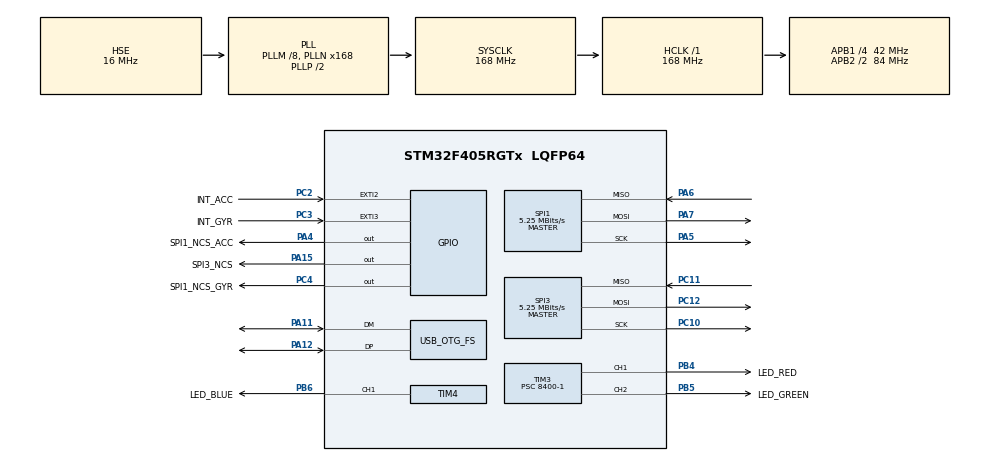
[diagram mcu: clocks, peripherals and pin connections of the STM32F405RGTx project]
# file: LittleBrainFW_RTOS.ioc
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Dma.Request0=SPI1_RX
Dma.Request1=SPI1_TX
Dma.Request2=SPI3_RX
Dma.Request3=SPI3_TX
Dma.SPI1_RX.0.Direction=DMA_PERIPH_TO_MEMORY
Dma.SPI1_RX.0.FIFOMode=DMA_FIFOMODE_DISABLE
Dma.SPI1_RX.0.Instance=DMA2_Stream0
Dma.SPI1_RX.0.MemDataAlignment=DMA_MDATAALIGN_BYTE
Dma.SPI1_RX.0.MemInc=DMA_MINC_ENABLE
Dma.SPI1_RX.0.Mode=DMA_NORMAL
Dma.SPI1_RX.0.PeriphDataAlignment=DMA_PDATAALIGN_BYTE
Dma.SPI1_RX.0.PeriphInc=DMA_PINC_DISABLE
Dma.SPI1_RX.0.Priority=DMA_PRIORITY_HIGH
Dma.SPI1_TX.1.Direction=DMA_MEMORY_TO_PERIPH
Dma.SPI1_TX.1.FIFOMode=DMA_FIFOMODE_DISABLE
Dma.SPI1_TX.1.Instance=DMA2_Stream3
Dma.SPI1_TX.1.MemDataAlignment=DMA_MDATAALIGN_BYTE
Dma.SPI1_TX.1.MemInc=DMA_MINC_ENABLE
Dma.SPI1_TX.1.Mode=DMA_NORMAL
Dma.SPI1_TX.1.PeriphDataAlignment=DMA_PDATAALIGN_BYTE
Dma.SPI1_TX.1.PeriphInc=DMA_PINC_DISABLE
Dma.SPI1_TX.1.Priority=DMA_PRIORITY_HIGH
Dma.SPI3_RX.2.Direction=DMA_PERIPH_TO_MEMORY
Dma.SPI3_RX.2.FIFOMode=DMA_FIFOMODE_DISABLE
Dma.SPI3_RX.2.Instance=DMA1_Stream0
Dma.SPI3_RX.2.MemDataAlignment=DMA_MDATAALIGN_BYTE
Dma.SPI3_RX.2.MemInc=DMA_MINC_ENABLE
Dma.SPI3_RX.2.Mode=DMA_NORMAL
Dma.SPI3_RX.2.PeriphDataAlignment=DMA_PDATAALIGN_BYTE
Dma.SPI3_RX.2.PeriphInc=DMA_PINC_DISABLE
Dma.SPI3_RX.2.Priority=DMA_PRIORITY_MEDIUM
Dma.SPI3_TX.3.Direction=DMA_MEMORY_TO_PERIPH
Dma.SPI3_TX.3.FIFOMode=DMA_FIFOMODE_DISABLE
Dma.SPI3_TX.3.Instance=DMA1_Stream5
Dma.SPI3_TX.3.MemDataAlignment=DMA_MDATAALIGN_BYTE
Dma.SPI3_TX.3.MemInc=DMA_MINC_ENABLE
Dma.SPI3_TX.3.Mode=DMA_NORMAL
Dma.SPI3_TX.3.PeriphDataAlignment=DMA_PDATAALIGN_BYTE
Dma.SPI3_TX.3.PeriphInc=DMA_PINC_DISABLE
Dma.SPI3_TX.3.Priority=DMA_PRIORITY_MEDIUM
FREERTOS.Tasks01=taskLED,-2,128,startTaskLED,Default,NULL,Dynamic,NULL,NULL;taskUSB,0,128,startTaskUSB,Default,NULL,Dynamic,NULL,NULL;taskPressure,1,128,taskTaskPressure,Default,NULL,Dynamic,NULL,NULL;taskKalmanFilte,2,256,startTaskKalmanFilter,Default,NULL,Dynamic,NULL,NULL
FREERTOS.configENABLE_FPU=1
Mcu.Family=STM32F4
Mcu.Name=STM32F405RGTx
Mcu.Package=LQFP64
NVIC.DMA1_Stream0_IRQn=true\:0\:0\:false\:false\:true\:false\:false\:true
NVIC.DMA1_Stream5_IRQn=true\:0\:0\:false\:false\:true\:false\:false\:true
NVIC.DMA2_Stream0_IRQn=true\:0\:0\:false\:false\:true\:false\:false\:true
NVIC.DMA2_Stream3_IRQn=true\:0\:0\:false\:false\:true\:false\:false\:true
NVIC.EXTI2_IRQn=true\:0\:0\:false\:false\:true\:false\:true\:true
NVIC.EXTI3_IRQn=true\:0\:0\:false\:false\:true\:false\:true\:true
NVIC.OTG_FS_IRQn=true\:0\:0\:false\:false\:true\:false\:false\:true
NVIC.PriorityGroup=NVIC_PRIORITYGROUP_4
NVIC.SPI1_IRQn=true\:0\:0\:false\:false\:true\:false\:true\:true
NVIC.TIM1_UP_TIM10_IRQn=true\:0\:0\:false\:false\:true\:false\:false\:true
NVIC.TimeBase=TIM1_UP_TIM10_IRQn
NVIC.TimeBaseIP=TIM1
PA11.Mode=Device_Only
PA11.Signal=USB_OTG_FS_DM
PA12.Mode=Device_Only
PA12.Signal=USB_OTG_FS_DP
PA13.Mode=Trace_Asynchronous_SW
PA13.Signal=SYS_JTMS-SWDIO
PA14.Mode=Trace_Asynchronous_SW
PA14.Signal=SYS_JTCK-SWCLK
PA15.GPIO_Label=SPI3_NCS
PA15.Signal=GPIO_Output
PA4.GPIO_Label=SPI1_NCS_ACC
PA4.Signal=GPIO_Output
PA5.Mode=Full_Duplex_Master
PA5.Signal=SPI1_SCK
PA6.Mode=Full_Duplex_Master
PA6.Signal=SPI1_MISO
PA7.Mode=Full_Duplex_Master
PA7.Signal=SPI1_MOSI
PB3.Mode=Trace_Asynchronous_SW
PB3.Signal=SYS_JTDO-SWO
PB4.GPIO_Label=LED_RED
PB4.Signal=S_TIM3_CH1
PB5.GPIO_Label=LED_GREEN
PB5.Signal=S_TIM3_CH2
PB6.GPIO_Label=LED_BLUE
PB6.Signal=S_TIM4_CH1
PC10.Mode=Full_Duplex_Master
PC10.Signal=SPI3_SCK
PC11.Mode=Full_Duplex_Master
PC11.Signal=SPI3_MISO
PC12.Mode=Full_Duplex_Master
PC12.Signal=SPI3_MOSI
PC2.GPIO_Label=INT_ACC
PC2.Signal=GPXTI2
PC3.GPIO_Label=INT_GYR
PC3.Signal=GPXTI3
PC4.GPIO_Label=SPI1_NCS_GYR
PC4.Signal=GPIO_Output
PH0-OSC_IN.Mode=HSE-External-Oscillator
PH0-OSC_IN.Signal=RCC_OSC_IN
PH1-OSC_OUT.Mode=HSE-External-Oscillator
PH1-OSC_OUT.Signal=RCC_OSC_OUT
ProjectManager.HeapSize=0x200
ProjectManager.StackSize=0x400
ProjectManager.TargetToolchain=STM32CubeIDE
RCC.48MHZClocksFreq_Value=48000000
RCC.AHBFreq_Value=168000000
RCC.APB1CLKDivider=RCC_HCLK_DIV4
RCC.APB1Freq_Value=42000000
RCC.APB1TimFreq_Value=84000000
RCC.APB2CLKDivider=RCC_HCLK_DIV2
RCC.APB2Freq_Value=84000000
RCC.APB2TimFreq_Value=168000000
RCC.CortexFreq_Value=168000000
RCC.HCLKFreq_Value=168000000
RCC.HSE_VALUE=16000000
RCC.HSI_VALUE=16000000
RCC.LSE_VALUE=32768
RCC.PLLM=8
RCC.PLLN=168
RCC.PLLQ=7
RCC.SYSCLKFreq_VALUE=168000000
RCC.SYSCLKSource=RCC_SYSCLKSOURCE_PLLCLK
RCC.VCOOutputFreq_Value=336000000
SH.S_TIM3_CH1.0=TIM3_CH1,PWM Generation1 CH1
SH.S_TIM3_CH2.0=TIM3_CH2,PWM Generation2 CH2
SH.S_TIM4_CH1.0=TIM4_CH1,PWM Generation1 CH1
SPI1.BaudRatePrescaler=SPI_BAUDRATEPRESCALER_16
SPI1.CalculateBaudRate=5.25 MBits/s
SPI1.Direction=SPI_DIRECTION_2LINES
SPI1.Mode=SPI_MODE_MASTER
SPI1.VirtualType=VM_MASTER
SPI3.BaudRatePrescaler=SPI_BAUDRATEPRESCALER_8
SPI3.CalculateBaudRate=5.25 MBits/s
SPI3.Direction=SPI_DIRECTION_2LINES
SPI3.Mode=SPI_MODE_MASTER
SPI3.VirtualType=VM_MASTER
TIM3.Channel-PWM\ Generation1\ CH1=TIM_CHANNEL_1
TIM3.Channel-PWM\ Generation2\ CH2=TIM_CHANNEL_2
TIM3.Period=100-1
TIM3.Prescaler=8400-1
TIM3.TIM_MasterOutputTrigger=TIM_TRGO_RESET
TIM4.Channel-PWM\ Generation1\ CH1=TIM_CHANNEL_1
TIM4.Period=100-1
TIM4.Prescaler=8400-1
USB_DEVICE.CLASS_NAME_FS=CDC
USB_DEVICE.VirtualMode-CDC_FS=Cdc
USB_DEVICE.VirtualModeFS=Cdc_FS
USB_OTG_FS.VirtualMode=Device_Only
VP_FREERTOS_VS_CMSIS_V1.Mode=CMSIS_V1
VP_SYS_VS_tim1.Mode=TIM1
VP_TIM3_VS_ClockSourceINT.Mode=Internal
VP_TIM4_VS_ClockSourceINT.Mode=Internal
VP_USB_DEVICE_VS_USB_DEVICE_CDC_FS.Mode=CDC_FS
board=custom

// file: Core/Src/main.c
/* USER CODE BEGIN Header */

/*
 *
 * Little Brain PCB Firmware + FreeRTOS
 *
 * Phil's Lab - youtube.com/c/phils94
 *
 */

/* USER CODE END Header */

#include "main.h"
#include "cmsis_os.h"
#include "usb_device.h"

/* USER CODE BEGIN Includes */
#include "usbd_cdc_if.h"

#include "BMI088.h"
#include "SPL06.h"
/* USER CODE END Includes */

/* USER CODE BEGIN PD */
#define SAMPLE_TIME_MS_EKF	100
#define SAMPLE_TIME_MS_BAR  125
#define SAMPLE_TIME_MS_USB 1000
#define SAMPLE_TIME_MS_LED  250
/* USER CODE END PD */

SPI_HandleTypeDef hspi1;
SPI_HandleTypeDef hspi3;
DMA_HandleTypeDef hdma_spi1_rx;
DMA_HandleTypeDef hdma_spi1_tx;
DMA_HandleTypeDef hdma_spi3_rx;
DMA_HandleTypeDef hdma_spi3_tx;

TIM_HandleTypeDef htim3;
TIM_HandleTypeDef htim4;

osThreadId taskLEDHandle;
osThreadId taskUSBHandle;
osThreadId taskPressureHandle;
osThreadId taskKalmanFilteHandle;
/* USER CODE BEGIN PV */
BMI088 imu;
SPL06  bar;
/* USER CODE END PV */

void SystemClock_Config(void);
static void MX_GPIO_Init(void);
static void MX_DMA_Init(void);
static void MX_SPI1_Init(void);
static void MX_SPI3_Init(void);
static void MX_TIM3_Init(void);
static void MX_TIM4_Init(void);
void startTaskLED(void const * argument);
void startTaskUSB(void const * argument);
void taskTaskPressure(void const * argument);
void startTaskKalmanFilter(void const * argument);

/* USER CODE BEGIN 0 */
void HAL_SPI_TxRxCpltCallback(SPI_HandleTypeDef *hspi) {

	if (hspi->Instance == SPI1) {

		if (imu.readingAcc) {

			BMI088_ReadAccelerometerDMA_Complete(&imu);

		}

		if (imu.readingGyr) {

			BMI088_ReadGyroscopeDMA_Complete(&imu);

		}

	} else if (hspi->Instance == SPI3) {

		if (bar.reading) {

			SPL06_ReadDMA_Complete(&bar);

		}

	}

}

void HAL_GPIO_EXTI_Callback(uint16_t GPIO_Pin) {

	if (GPIO_Pin == INT_ACC_Pin) {

		BMI088_ReadAccelerometerDMA(&imu);

	} else if (GPIO_Pin == INT_GYR_Pin) {

		BMI088_ReadGyroscopeDMA(&imu);

	}

}

void LED_RGB_Init() {

	/* Start RGB LED PWM timers */
	HAL_TIM_PWM_Start(&htim3, TIM_CHANNEL_1);
	HAL_TIM_PWM_Start(&htim3, TIM_CHANNEL_2);
	HAL_TIM_PWM_Start(&htim4, TIM_CHANNEL_1);

}

void LED_RGB_SetIntensity(uint8_t red, uint8_t green, uint8_t blue) {

	htim3.Instance->CCR1 = 100 - red;
	htim3.Instance->CCR2 = 100 - green;
	htim4.Instance->CCR1 = 100 - blue;

}
/* USER CODE END 0 */

int main(void)
{

  /* MCU Configuration--------------------------------------------------------*/

  /* Reset of all peripherals, Initializes the Flash interface and the Systick. */
  HAL_Init();

  /* Configure the system clock */
  SystemClock_Config();

  /* Initialize all configured peripherals */
  MX_GPIO_Init();
  MX_DMA_Init();
  MX_SPI1_Init();
  MX_SPI3_Init();
  MX_TIM3_Init();
  MX_TIM4_Init();
  /* USER CODE BEGIN 2 */
  /* init code for USB_DEVICE */
  MX_USB_DEVICE_Init();

  /* Initialise RGB LED */
  LED_RGB_Init();
  LED_RGB_SetIntensity(0, 0, 0);

  /* Initialise inertial measurement unit */
  BMI088_Init(&imu, &hspi1, GPIOA, SPI1_NCS_ACC_Pin, GPIOC, SPI1_NCS_GYR_Pin);

  /* Initialise barometric pressure sensor */
  SPL06_Init(&bar, &hspi3, GPIOA, SPI3_NCS_Pin);
  /* USER CODE END 2 */

  /* Create the thread(s) */
  /* definition and creation of taskLED */
  osThreadDef(taskLED, startTaskLED, osPriorityLow, 0, 128);
  taskLEDHandle = osThreadCreate(osThread(taskLED), NULL);

  /* definition and creation of taskUSB */
  osThreadDef(taskUSB, startTaskUSB, osPriorityNormal, 0, 256);
  taskUSBHandle = osThreadCreate(osThread(taskUSB), NULL);

  /* definition and creation of taskPressure */
  osThreadDef(taskPressure, taskTaskPressure, osPriorityAboveNormal, 0, 128);
  taskPressureHandle = osThreadCreate(osThread(taskPressure), NULL);

  /* definition and creation of taskKalmanFilte */
  osThreadDef(taskKalmanFilte, startTaskKalmanFilter, osPriorityHigh, 0, 256);
  taskKalmanFilteHandle = osThreadCreate(osThread(taskKalmanFilte), NULL);

  /* Start scheduler */
  osKernelStart();

  /* We should never get here as control is now taken by the scheduler */
  /* Infinite loop */
  while (1)
  {

  }
}

void SystemClock_Config(void)
{
  RCC_OscInitTypeDef RCC_OscInitStruct = {0};
  RCC_ClkInitTypeDef RCC_ClkInitStruct = {0};

  /** Configure the main internal regulator output voltage
  */
  __HAL_RCC_PWR_CLK_ENABLE();
  __HAL_PWR_VOLTAGESCALING_CONFIG(PWR_REGULATOR_VOLTAGE_SCALE1);
  /** Initializes the CPU, AHB and APB busses clocks
  */
  RCC_OscInitStruct.OscillatorType = RCC_OSCILLATORTYPE_HSE;
  RCC_OscInitStruct.HSEState = RCC_HSE_ON;
  RCC_OscInitStruct.PLL.PLLState = RCC_PLL_ON;
  RCC_OscInitStruct.PLL.PLLSource = RCC_PLLSOURCE_HSE;
  RCC_OscInitStruct.PLL.PLLM = 8;
  RCC_OscInitStruct.PLL.PLLN = 168;
  RCC_OscInitStruct.PLL.PLLP = RCC_PLLP_DIV2;
  RCC_OscInitStruct.PLL.PLLQ = 7;
  if (HAL_RCC_OscConfig(&RCC_OscInitStruct) != HAL_OK)
  {
    Error_Handler();
  }
  /** Initializes the CPU, AHB and APB busses clocks
  */
  RCC_ClkInitStruct.ClockType = RCC_CLOCKTYPE_HCLK|RCC_CLOCKTYPE_SYSCLK
                              |RCC_CLOCKTYPE_PCLK1|RCC_CLOCKTYPE_PCLK2;
  RCC_ClkInitStruct.SYSCLKSource = RCC_SYSCLKSOURCE_PLLCLK;
  RCC_ClkInitStruct.AHBCLKDivider = RCC_SYSCLK_DIV1;
  RCC_ClkInitStruct.APB1CLKDivider = RCC_HCLK_DIV4;
  RCC_ClkInitStruct.APB2CLKDivider = RCC_HCLK_DIV2;

  if (HAL_RCC_ClockConfig(&RCC_ClkInitStruct, FLASH_LATENCY_5) != HAL_OK)
  {
    Error_Handler();
  }
}

static void MX_SPI1_Init(void)
{

  /* SPI1 parameter configuration*/
  hspi1.Instance = SPI1;
  hspi1.Init.Mode = SPI_MODE_MASTER;
  hspi1.Init.Direction = SPI_DIRECTION_2LINES;
  hspi1.Init.DataSize = SPI_DATASIZE_8BIT;
  hspi1.Init.CLKPolarity = SPI_POLARITY_LOW;
  hspi1.Init.CLKPhase = SPI_PHASE_1EDGE;
  hspi1.Init.NSS = SPI_NSS_SOFT;
  hspi1.Init.BaudRatePrescaler = SPI_BAUDRATEPRESCALER_16;
  hspi1.Init.FirstBit = SPI_FIRSTBIT_MSB;
  hspi1.Init.TIMode = SPI_TIMODE_DISABLE;
  hspi1.Init.CRCCalculation = SPI_CRCCALCULATION_DISABLE;
  hspi1.Init.CRCPolynomial = 10;
  if (HAL_SPI_Init(&hspi1) != HAL_OK)
  {
    Error_Handler();
  }

}

static void MX_SPI3_Init(void)
{

  /* SPI3 parameter configuration*/
  hspi3.Instance = SPI3;
  hspi3.Init.Mode = SPI_MODE_MASTER;
  hspi3.Init.Direction = SPI_DIRECTION_2LINES;
  hspi3.Init.DataSize = SPI_DATASIZE_8BIT;
  hspi3.Init.CLKPolarity = SPI_POLARITY_LOW;
  hspi3.Init.CLKPhase = SPI_PHASE_1EDGE;
  hspi3.Init.NSS = SPI_NSS_SOFT;
  hspi3.Init.BaudRatePrescaler = SPI_BAUDRATEPRESCALER_8;
  hspi3.Init.FirstBit = SPI_FIRSTBIT_MSB;
  hspi3.Init.TIMode = SPI_TIMODE_DISABLE;
  hspi3.Init.CRCCalculation = SPI_CRCCALCULATION_DISABLE;
  hspi3.Init.CRCPolynomial = 10;
  if (HAL_SPI_Init(&hspi3) != HAL_OK)
  {
    Error_Handler();
  }

}

static void MX_TIM3_Init(void)
{

  TIM_ClockConfigTypeDef sClockSourceConfig = {0};
  TIM_MasterConfigTypeDef sMasterConfig = {0};
  TIM_OC_InitTypeDef sConfigOC = {0};

  htim3.Instance = TIM3;
  htim3.Init.Prescaler = 8400-1;
  htim3.Init.CounterMode = TIM_COUNTERMODE_UP;
  htim3.Init.Period = 100-1;
  htim3.Init.ClockDivision = TIM_CLOCKDIVISION_DIV1;
  htim3.Init.AutoReloadPreload = TIM_AUTORELOAD_PRELOAD_DISABLE;
  if (HAL_TIM_Base_Init(&htim3) != HAL_OK)
  {
    Error_Handler();
  }
  sClockSourceConfig.ClockSource = TIM_CLOCKSOURCE_INTERNAL;
  if (HAL_TIM_ConfigClockSource(&htim3, &sClockSourceConfig) != HAL_OK)
  {
    Error_Handler();
  }
  if (HAL_TIM_PWM_Init(&htim3) != HAL_OK)
  {
    Error_Handler();
  }
  sMasterConfig.MasterOutputTrigger = TIM_TRGO_RESET;
  sMasterConfig.MasterSlaveMode = TIM_MASTERSLAVEMODE_DISABLE;
  if (HAL_TIMEx_MasterConfigSynchronization(&htim3, &sMasterConfig) != HAL_OK)
  {
    Error_Handler();
  }
  sConfigOC.OCMode = TIM_OCMODE_PWM1;
  sConfigOC.Pulse = 0;
  sConfigOC.OCPolarity = TIM_OCPOLARITY_HIGH;
  sConfigOC.OCFastMode = TIM_OCFAST_DISABLE;
  if (HAL_TIM_PWM_ConfigChannel(&htim3, &sConfigOC, TIM_CHANNEL_1) != HAL_OK)
  {
    Error_Handler();
  }
  if (HAL_TIM_PWM_ConfigChannel(&htim3, &sConfigOC, TIM_CHANNEL_2) != HAL_OK)
  {
    Error_Handler();
  }
  HAL_TIM_MspPostInit(&htim3);

}

static void MX_TIM4_Init(void)
{

  TIM_ClockConfigTypeDef sClockSourceConfig = {0};
  TIM_MasterConfigTypeDef sMasterConfig = {0};
  TIM_OC_InitTypeDef sConfigOC = {0};

  htim4.Instance = TIM4;
  htim4.Init.Prescaler = 8400-1;
  htim4.Init.CounterMode = TIM_COUNTERMODE_UP;
  htim4.Init.Period = 100-1;
  htim4.Init.ClockDivision = TIM_CLOCKDIVISION_DIV1;
  htim4.Init.AutoReloadPreload = TIM_AUTORELOAD_PRELOAD_DISABLE;
  if (HAL_TIM_Base_Init(&htim4) != HAL_OK)
  {
    Error_Handler();
  }
  sClockSourceConfig.ClockSource = TIM_CLOCKSOURCE_INTERNAL;
  if (HAL_TIM_ConfigClockSource(&htim4, &sClockSourceConfig) != HAL_OK)
  {
    Error_Handler();
  }
  if (HAL_TIM_PWM_Init(&htim4) != HAL_OK)
  {
    Error_Handler();
  }
  sMasterConfig.MasterOutputTrigger = TIM_TRGO_RESET;
  sMasterConfig.MasterSlaveMode = TIM_MASTERSLAVEMODE_DISABLE;
  if (HAL_TIMEx_MasterConfigSynchronization(&htim4, &sMasterConfig) != HAL_OK)
  {
    Error_Handler();
  }
  sConfigOC.OCMode = TIM_OCMODE_PWM1;
  sConfigOC.Pulse = 0;
  sConfigOC.OCPolarity = TIM_OCPOLARITY_HIGH;
  sConfigOC.OCFastMode = TIM_OCFAST_DISABLE;
  if (HAL_TIM_PWM_ConfigChannel(&htim4, &sConfigOC, TIM_CHANNEL_1) != HAL_OK)
  {
    Error_Handler();
  }
  HAL_TIM_MspPostInit(&htim4);

}

static void MX_DMA_Init(void)
{

  /* DMA controller clock enable */
  __HAL_RCC_DMA2_CLK_ENABLE();
  __HAL_RCC_DMA1_CLK_ENABLE();

  /* DMA interrupt init */
  /* DMA1_Stream0_IRQn interrupt configuration */
  HAL_NVIC_SetPriority(DMA1_Stream0_IRQn, 0, 0);
  HAL_NVIC_EnableIRQ(DMA1_Stream0_IRQn);
  /* DMA1_Stream5_IRQn interrupt configuration */
  HAL_NVIC_SetPriority(DMA1_Stream5_IRQn, 0, 0);
  HAL_NVIC_EnableIRQ(DMA1_Stream5_IRQn);
  /* DMA2_Stream0_IRQn interrupt configuration */
  HAL_NVIC_SetPriority(DMA2_Stream0_IRQn, 0, 0);
  HAL_NVIC_EnableIRQ(DMA2_Stream0_IRQn);
  /* DMA2_Stream3_IRQn interrupt configuration */
  HAL_NVIC_SetPriority(DMA2_Stream3_IRQn, 0, 0);
  HAL_NVIC_EnableIRQ(DMA2_Stream3_IRQn);

}

static void MX_GPIO_Init(void)
{
  GPIO_InitTypeDef GPIO_InitStruct = {0};

  /* GPIO Ports Clock Enable */
  __HAL_RCC_GPIOH_CLK_ENABLE();
  __HAL_RCC_GPIOC_CLK_ENABLE();
  __HAL_RCC_GPIOA_CLK_ENABLE();
  __HAL_RCC_GPIOB_CLK_ENABLE();

  /*Configure GPIO pin Output Level */
  HAL_GPIO_WritePin(GPIOA, SPI1_NCS_ACC_Pin|SPI3_NCS_Pin, GPIO_PIN_RESET);

  /*Configure GPIO pin Output Level */
  HAL_GPIO_WritePin(SPI1_NCS_GYR_GPIO_Port, SPI1_NCS_GYR_Pin, GPIO_PIN_RESET);

  /*Configure GPIO pins : INT_ACC_Pin INT_GYR_Pin */
  GPIO_InitStruct.Pin = INT_ACC_Pin|INT_GYR_Pin;
  GPIO_InitStruct.Mode = GPIO_MODE_IT_RISING;
  GPIO_InitStruct.Pull = GPIO_NOPULL;
  HAL_GPIO_Init(GPIOC, &GPIO_InitStruct);

  /*Configure GPIO pins : SPI1_NCS_ACC_Pin SPI3_NCS_Pin */
  GPIO_InitStruct.Pin = SPI1_NCS_ACC_Pin|SPI3_NCS_Pin;
  GPIO_InitStruct.Mode = GPIO_MODE_OUTPUT_PP;
  GPIO_InitStruct.Pull = GPIO_NOPULL;
  GPIO_InitStruct.Speed = GPIO_SPEED_FREQ_LOW;
  HAL_GPIO_Init(GPIOA, &GPIO_InitStruct);

  /*Configure GPIO pin : SPI1_NCS_GYR_Pin */
  GPIO_InitStruct.Pin = SPI1_NCS_GYR_Pin;
  GPIO_InitStruct.Mode = GPIO_MODE_OUTPUT_PP;
  GPIO_InitStruct.Pull = GPIO_NOPULL;
  GPIO_InitStruct.Speed = GPIO_SPEED_FREQ_LOW;
  HAL_GPIO_Init(SPI1_NCS_GYR_GPIO_Port, &GPIO_InitStruct);

  /* EXTI interrupt init*/
  HAL_NVIC_SetPriority(EXTI2_IRQn, 0, 0);
  HAL_NVIC_EnableIRQ(EXTI2_IRQn);

  HAL_NVIC_SetPriority(EXTI3_IRQn, 0, 0);
  HAL_NVIC_EnableIRQ(EXTI3_IRQn);

}

void startTaskLED(void const * argument)
{
  /* USER CODE BEGIN 5 */
  uint8_t ledState = 0;
  /* Infinite loop */
  for(;;)
  {

    switch(ledState) {

	  case 0:
	    LED_RGB_SetIntensity(100, 0, 0);
	    break;

      case 1:
	    LED_RGB_SetIntensity(0, 75, 0);
	    break;

	  case 2:
	    LED_RGB_SetIntensity(0, 0, 100);
	    break;

    }

	ledState++;

	if (ledState > 2) {
	  ledState = 0;
	}

    osDelay(SAMPLE_TIME_MS_LED);

  }
  /* USER CODE END 5 */
}

void startTaskUSB(void const * argument)
{
  /* USER CODE BEGIN startTaskUSB */
  char logBuf[64];
  /* Infinite loop */
  for(;;)
  {

	sprintf((uint8_t *) logBuf, "%.2f\t%.2f\t%.2f\t%.2f\t%.2f\t%.2f\r\n", imu.acc_mps2[0], imu.acc_mps2[1], imu.acc_mps2[2],
														      	  	  	  imu.gyr_rps[0],  imu.gyr_rps[1],  imu.gyr_rps[2]);

	CDC_Transmit_FS((uint8_t *) logBuf, strlen(logBuf));

    osDelay(SAMPLE_TIME_MS_USB);

  }
  /* USER CODE END startTaskUSB */
}

void taskTaskPressure(void const * argument)
{
  /* USER CODE BEGIN taskTaskPressure */
  /* Infinite loop */
  for(;;)
  {

	SPL06_ReadDMA(&bar);

    osDelay(SAMPLE_TIME_MS_BAR);

  }
  /* USER CODE END taskTaskPressure */
}

void startTaskKalmanFilter(void const * argument)
{
  /* USER CODE BEGIN startTaskKalmanFilter */
  /* Infinite loop */
  for(;;)
  {
    osDelay(SAMPLE_TIME_MS_EKF);
  }
  /* USER CODE END startTaskKalmanFilter */
}

 /**
  * @brief  Period elapsed callback in non blocking mode
  * @note   This function is called  when TIM1 interrupt took place, inside
  * HAL_TIM_IRQHandler(). It makes a direct call to HAL_IncTick() to increment
  * a global variable "uwTick" used as application time base.
  * @param  htim : TIM handle
  * @retval None
  */
void HAL_TIM_PeriodElapsedCallback(TIM_HandleTypeDef *htim)
{
  if (htim->Instance == TIM1) {
    HAL_IncTick();
  }
}

void Error_Handler(void)
{
  /* USER CODE BEGIN Error_Handler_Debug */
  /* User can add his own implementation to report the HAL error return state */
  LED_RGB_SetIntensity(100, 0, 0);

  while (1) {
	  /* Do nothing */
  }
  /* USER CODE END Error_Handler_Debug */
}

/************************ (C) COPYRIGHT STMicroelectronics *****END OF FILE****/

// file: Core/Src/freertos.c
/* USER CODE BEGIN Header */
/**
  ******************************************************************************
  * File Name          : freertos.c
  * Description        : Code for freertos applications
  ******************************************************************************
  * @attention
  *
  * <h2><center>&copy; Copyright (c) 2020 STMicroelectronics.
  * All rights reserved.</center></h2>
  *
  * This software component is licensed by ST under Ultimate Liberty license
  * SLA0044, the "License"; You may not use this file except in compliance with
  * the License. You may obtain a copy of the License at:
  *                             www.st.com/SLA0044
  *
  ******************************************************************************
  */
/* USER CODE END Header */

#include "FreeRTOS.h"
#include "task.h"
#include "main.h"

/* GetIdleTaskMemory prototype (linked to static allocation support) */
void vApplicationGetIdleTaskMemory( StaticTask_t **ppxIdleTaskTCBBuffer, StackType_t **ppxIdleTaskStackBuffer, uint32_t *pulIdleTaskStackSize );

/* USER CODE BEGIN GET_IDLE_TASK_MEMORY */
static StaticTask_t xIdleTaskTCBBuffer;
static StackType_t xIdleStack[configMINIMAL_STACK_SIZE];

void vApplicationGetIdleTaskMemory( StaticTask_t **ppxIdleTaskTCBBuffer, StackType_t **ppxIdleTaskStackBuffer, uint32_t *pulIdleTaskStackSize )
{
  *ppxIdleTaskTCBBuffer = &xIdleTaskTCBBuffer;
  *ppxIdleTaskStackBuffer = &xIdleStack[0];
  *pulIdleTaskStackSize = configMINIMAL_STACK_SIZE;
  /* place for user code */
}
/* USER CODE END GET_IDLE_TASK_MEMORY */

/************************ (C) COPYRIGHT STMicroelectronics *****END OF FILE****/
